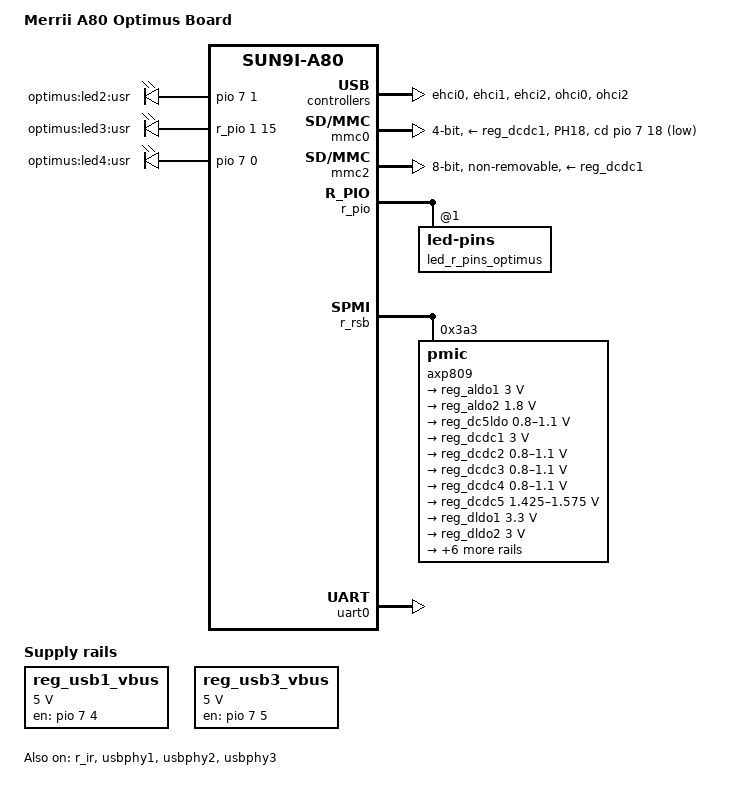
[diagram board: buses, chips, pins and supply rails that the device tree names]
/*
 * Copyright 2014 Chen-Yu Tsai
 *
 * Chen-Yu Tsai <wens@csie.org>
 *
 * This file is dual-licensed: you can use it either under the terms
 * of the GPL or the X11 license, at your option. Note that this dual
 * licensing only applies to this file, and not this project as a
 * whole.
 *
 *  a) This file is free software; you can redistribute it and/or
 *     modify it under the terms of the GNU General Public License as
 *     published by the Free Software Foundation; either version 2 of the
 *     License, or (at your option) any later version.
 *
 *     This file is distributed in the hope that it will be useful,
 *     but WITHOUT ANY WARRANTY; without even the implied warranty of
 *     MERCHANTABILITY or FITNESS FOR A PARTICULAR PURPOSE.  See the
 *     GNU General Public License for more details.
 *
 * Or, alternatively,
 *
 *  b) Permission is hereby granted, free of charge, to any person
 *     obtaining a copy of this software and associated documentation
 *     files (the "Software"), to deal in the Software without
 *     restriction, including without limitation the rights to use,
 *     copy, modify, merge, publish, distribute, sublicense, and/or
 *     sell copies of the Software, and to permit persons to whom the
 *     Software is furnished to do so, subject to the following
 *     conditions:
 *
 *     The above copyright notice and this permission notice shall be
 *     included in all copies or substantial portions of the Software.
 *
 *     THE SOFTWARE IS PROVIDED "AS IS", WITHOUT WARRANTY OF ANY KIND,
 *     EXPRESS OR IMPLIED, INCLUDING BUT NOT LIMITED TO THE WARRANTIES
 *     OF MERCHANTABILITY, FITNESS FOR A PARTICULAR PURPOSE AND
 *     NONINFRINGEMENT. IN NO EVENT SHALL THE AUTHORS OR COPYRIGHT
 *     HOLDERS BE LIABLE FOR ANY CLAIM, DAMAGES OR OTHER LIABILITY,
 *     WHETHER IN AN ACTION OF CONTRACT, TORT OR OTHERWISE, ARISING
 *     FROM, OUT OF OR IN CONNECTION WITH THE SOFTWARE OR THE USE OR
 *     OTHER DEALINGS IN THE SOFTWARE.
 */

/dts-v1/;
#include "sun9i-a80.dtsi"

#include <dt-bindings/gpio/gpio.h>
#include <dt-bindings/pinctrl/sun4i-a10.h>

/ {
	model = "Merrii A80 Optimus Board";
	compatible = "merrii,a80-optimus", "allwinner,sun9i-a80";

	aliases {
		serial0 = &uart0;
		serial1 = &uart4;
	};

	chosen {
		stdout-path = "serial0:115200n8";
	};

	leds {
		compatible = "gpio-leds";
		pinctrl-names = "default";
		pinctrl-0 = <&led_pins_optimus>, <&led_r_pins_optimus>;

		/* The LED names match those found on the board */

		led2 {
			label = "optimus:led2:usr";
			gpios = <&pio 7 1 GPIO_ACTIVE_HIGH>;
		};

		led3 {
			label = "optimus:led3:usr";
			gpios = <&r_pio 1 15 GPIO_ACTIVE_HIGH>; /* PM15 */
		};

		led4 {
			label = "optimus:led4:usr";
			gpios = <&pio 7 0 GPIO_ACTIVE_HIGH>;
		};
	};

	reg_usb1_vbus: usb1-vbus {
		compatible = "regulator-fixed";
		pinctrl-names = "default";
		pinctrl-0 = <&usb1_vbus_pin_optimus>;
		regulator-name = "usb1-vbus";
		regulator-min-microvolt = <5000000>;
		regulator-max-microvolt = <5000000>;
		enable-active-high;
		gpio = <&pio 7 4 GPIO_ACTIVE_HIGH>; /* PH4 */
	};

	reg_usb3_vbus: usb3-vbus {
		compatible = "regulator-fixed";
		pinctrl-names = "default";
		pinctrl-0 = <&usb3_vbus_pin_optimus>;
		regulator-name = "usb3-vbus";
		regulator-min-microvolt = <5000000>;
		regulator-max-microvolt = <5000000>;
		enable-active-high;
		gpio = <&pio 7 5 GPIO_ACTIVE_HIGH>; /* PH5 */
	};
};

&ehci0 {
	status = "okay";
};

&ehci1 {
	status = "okay";
};

&ehci2 {
	status = "okay";
};

&mmc0 {
	pinctrl-names = "default";
	pinctrl-0 = <&mmc0_pins>, <&mmc0_cd_pin_optimus>;
	vmmc-supply = <&reg_dcdc1>;
	bus-width = <4>;
	cd-gpios = <&pio 7 18 GPIO_ACTIVE_HIGH>; /* PH8 */
	cd-inverted;
	status = "okay";
};

&mmc2 {
	pinctrl-names = "default";
	pinctrl-0 = <&mmc2_8bit_pins>;
	vmmc-supply = <&reg_dcdc1>;
	bus-width = <8>;
	non-removable;
	cap-mmc-hw-reset;
	status = "okay";
};

&mmc2_8bit_pins {
	/* Increase drive strength for DDR modes */
	allwinner,drive = <SUN4I_PINCTRL_40_MA>;
};

&ohci0 {
	status = "okay";
};

&ohci2 {
	status = "okay";
};

&pio {
	led_pins_optimus: led-pins@0 {
		allwinner,pins = "PH0", "PH1";
		allwinner,function = "gpio_out";
		allwinner,drive = <SUN4I_PINCTRL_10_MA>;
		allwinner,pull = <SUN4I_PINCTRL_NO_PULL>;
	};

	mmc0_cd_pin_optimus: mmc0_cd_pin@0 {
		allwinner,pins = "PH18";
		allwinner,function = "gpio_in";
		allwinner,drive = <SUN4I_PINCTRL_10_MA>;
		allwinner,pull = <SUN4I_PINCTRL_PULL_UP>;
	};

	usb1_vbus_pin_optimus: usb1_vbus_pin@1 {
		allwinner,pins = "PH4";
		allwinner,function = "gpio_out";
		allwinner,drive = <SUN4I_PINCTRL_10_MA>;
		allwinner,pull = <SUN4I_PINCTRL_NO_PULL>;
	};

	usb3_vbus_pin_optimus: usb3_vbus_pin@1 {
		allwinner,pins = "PH5";
		allwinner,function = "gpio_out";
		allwinner,drive = <SUN4I_PINCTRL_10_MA>;
		allwinner,pull = <SUN4I_PINCTRL_NO_PULL>;
	};
};

&r_ir {
	status = "okay";
};

&r_pio {
	led_r_pins_optimus: led-pins@1 {
		allwinner,pins = "PM15";
		allwinner,function = "gpio_out";
		allwinner,drive = <SUN4I_PINCTRL_10_MA>;
		allwinner,pull = <SUN4I_PINCTRL_NO_PULL>;
	};
};

&r_rsb {
	status = "okay";

	axp809: pmic@3a3 {
		reg = <0x3a3>;
		interrupt-parent = <&nmi_intc>;
		interrupts = <0 IRQ_TYPE_LEVEL_LOW>;

		regulators {
			reg_aldo1: aldo1 {
				/*
				 * TODO: This should be handled by the
				 * USB PHY driver.
				 */
				regulator-always-on;
				regulator-min-microvolt = <3000000>;
				regulator-max-microvolt = <3000000>;
				regulator-name = "vcc33-usbh";
			};

			reg_aldo2: aldo2 {
				regulator-min-microvolt = <1800000>;
				regulator-max-microvolt = <1800000>;
				regulator-name = "vcc-pb-io-cam";
			};

			aldo3 {
				/* unused */
			};

			reg_dc5ldo: dc5ldo {
				regulator-always-on;
				regulator-min-microvolt = <800000>;
				regulator-max-microvolt = <1100000>;
				regulator-name = "vdd-cpus-09-usbh";
			};

			reg_dcdc1: dcdc1 {
				regulator-always-on;
				regulator-min-microvolt = <3000000>;
				regulator-max-microvolt = <3000000>;
				regulator-name = "vcc-3v";
			};

			reg_dcdc2: dcdc2 {
				regulator-min-microvolt = <800000>;
				regulator-max-microvolt = <1100000>;
				regulator-name = "vdd-gpu";
			};

			reg_dcdc3: dcdc3 {
				regulator-always-on;
				regulator-min-microvolt = <800000>;
				regulator-max-microvolt = <1100000>;
				regulator-name = "vdd-cpua";
			};

			reg_dcdc4: dcdc4 {
				regulator-always-on;
				regulator-min-microvolt = <800000>;
				regulator-max-microvolt = <1100000>;
				regulator-name = "vdd-sys-usb0-hdmi";
			};

			reg_dcdc5: dcdc5 {
				regulator-always-on;
				regulator-min-microvolt = <1425000>;
				regulator-max-microvolt = <1575000>;
				regulator-name = "vcc-dram";
			};

			reg_dldo1: dldo1 {
				/*
				 * The WiFi chip supports a wide range
				 * (3.0 ~ 4.8V) of voltages, and so does
				 * this regulator (3.0 ~ 4.2V), but
				 * Allwinner SDK always sets it to 3.3V.
				 */
				regulator-min-microvolt = <3300000>;
				regulator-max-microvolt = <3300000>;
				regulator-name = "vcc-wifi";
			};

			reg_dldo2: dldo2 {
				regulator-always-on;
				regulator-min-microvolt = <3000000>;
				regulator-max-microvolt = <3000000>;
				regulator-name = "vcc-pl";
			};

			reg_eldo1: eldo1 {
				regulator-min-microvolt = <1200000>;
				regulator-max-microvolt = <1200000>;
				regulator-name = "vcc-dvdd-cam";
			};

			reg_eldo2: eldo2 {
				regulator-min-microvolt = <1800000>;
				regulator-max-microvolt = <1800000>;
				regulator-name = "vcc-pe";
			};

			reg_eldo3: eldo3 {
				regulator-always-on;
				regulator-min-microvolt = <3000000>;
				regulator-max-microvolt = <3000000>;
				regulator-name = "vcc-pm-codec-io1";
			};

			reg_ldo_io0: ldo_io0 {
				regulator-always-on;
				regulator-min-microvolt = <3000000>;
				regulator-max-microvolt = <3000000>;
				regulator-name = "vcc-pg";
			};

			reg_ldo_io1: ldo_io1 {
				regulator-min-microvolt = <2500000>;
				regulator-max-microvolt = <2500000>;
				regulator-name = "vcc-pa-gmac-2v5";
			};

			reg_rtc_ldo: rtc_ldo {
				regulator-name = "vcc-rtc-vdd1v8-io";
			};
		};
	};
};

#include "axp809.dtsi"

&uart0 {
	pinctrl-names = "default";
	pinctrl-0 = <&uart0_pins_a>;
	status = "okay";
};

&usbphy1 {
	phy-supply = <&reg_usb1_vbus>;
	status = "okay";
};

&usbphy2 {
	status = "okay";
};

&usbphy3 {
	phy-supply = <&reg_usb3_vbus>;
	status = "okay";
};
